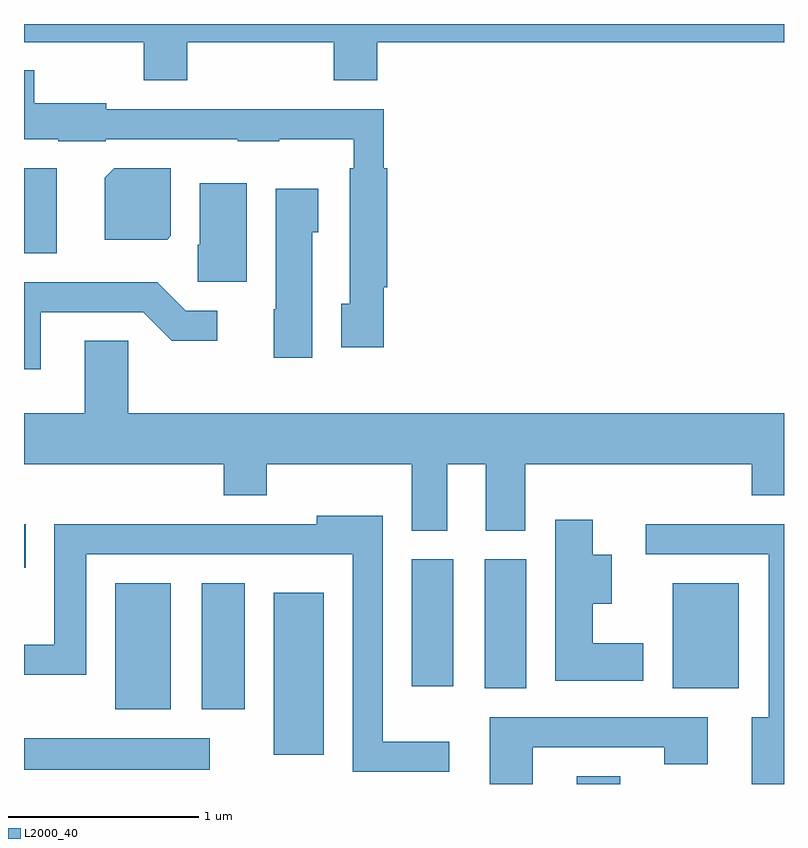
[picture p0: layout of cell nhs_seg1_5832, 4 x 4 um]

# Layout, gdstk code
import gdstk
lib = gdstk.Library(unit=1e-6, precision=1e-09)
def R(c, l, rs):  # rectangles x0, y0, x1, y1
    for r in rs: c.add(gdstk.rectangle(r[:2], r[2:], *l))
def P(c, l, *ps):  # polygons
    for p in ps: c.add(gdstk.Polygon(p, *l))
L2000_40 = (2000, 40)

nhs_seg1_5832 = lib.new_cell('nhs_seg1_5832')
R(nhs_seg1_5832, L2000_40, [(364.521,855.712,364.749,855.754), (361.611,855.786,362.588,855.954), (362.926,855.866,363.189,856.719), (362.091,856.106,362.384,856.769), (362.546,856.106,362.774,856.769), (364.036,856.216,364.254,856.894), (365.026,856.216,365.374,856.769), (363.651,856.226,363.869,856.894), (361.611,856.851,361.619,857.079), (361.611,858.506,361.784,858.954)])
P(nhs_seg1_5832, L2000_40, [(362.469,859.616),(363.241,859.616),(363.241,859.416),(363.469,859.416),(363.469,859.616),(365.611,859.616),(365.611,859.712),(361.611,859.712),(361.611,859.616),(362.241,859.616),(362.241,859.416),(362.469,859.416)],
  [(363.504,858.326),(363.524,858.326),(363.524,858.954),(363.504,858.954),(363.504,859.264),(362.044,859.264),(362.044,859.294),(361.664,859.294),(361.664,859.468),(361.611,859.468),(361.611,859.106),(361.79,859.106),(361.79,859.096),(362.04,859.096),(362.04,859.106),(362.735,859.106),(362.735,859.096),(362.955,859.096),(362.955,859.106),(363.346,859.106),(363.346,858.954),(363.326,858.954),(363.326,858.239),(363.281,858.239),(363.281,858.011),(363.504,858.011)],
  [(362.384,858.597),(362.384,858.954),(362.087,858.954),(362.036,858.904),(362.036,858.576),(362.364,858.576)],
  [(362.784,858.874),(362.536,858.874),(362.536,858.55),(362.526,858.55),(362.526,858.356),(362.784,858.356)],
  [(363.129,858.616),(363.159,858.616),(363.159,858.844),(362.936,858.844),(362.936,858.21),(362.926,858.21),(362.926,857.956),(363.129,857.956)],
  [(361.699,858.196),(362.239,858.196),(362.389,858.046),(362.628,858.046),(362.628,858.204),(362.462,858.204),(362.312,858.354),(361.611,858.354),(361.611,857.896),(361.699,857.896)],
  [(363.839,857.396),(364.041,857.396),(364.041,857.046),(364.249,857.046),(364.249,857.396),(365.441,857.396),(365.441,857.231),(365.611,857.231),(365.611,857.664),(362.159,857.664),(362.159,858.044),(361.931,858.044),(361.931,857.664),(361.611,857.664),(361.611,857.396),(362.661,857.396),(362.661,857.231),(362.889,857.231),(362.889,857.396),(363.651,857.396),(363.651,857.046),(363.839,857.046)],
  [(363.848,855.934),(363.499,855.934),(363.499,857.124),(363.151,857.124),(363.151,857.079),(361.771,857.079),(361.771,856.444),(361.611,856.444),(361.611,856.286),(361.939,856.286),(361.939,856.921),(363.341,856.921),(363.341,855.776),(363.848,855.776)],
  [(364.869,856.454),(364.604,856.454),(364.604,856.661),(364.704,856.661),(364.704,856.919),(364.604,856.919),(364.604,857.104),(364.406,857.104),(364.406,856.256),(364.869,856.256)],
  [(365.611,857.079),(364.883,857.079),(364.883,856.921),(365.531,856.921),(365.531,856.064),(365.441,856.064),(365.441,855.712),(365.611,855.712)],
  [(364.289,855.906),(364.981,855.906),(364.981,855.816),(365.209,855.816),(365.209,856.064),(364.061,856.064),(364.061,855.712),(364.289,855.712)])

lib.write_gds('nhs_seg1_5832.gds')
